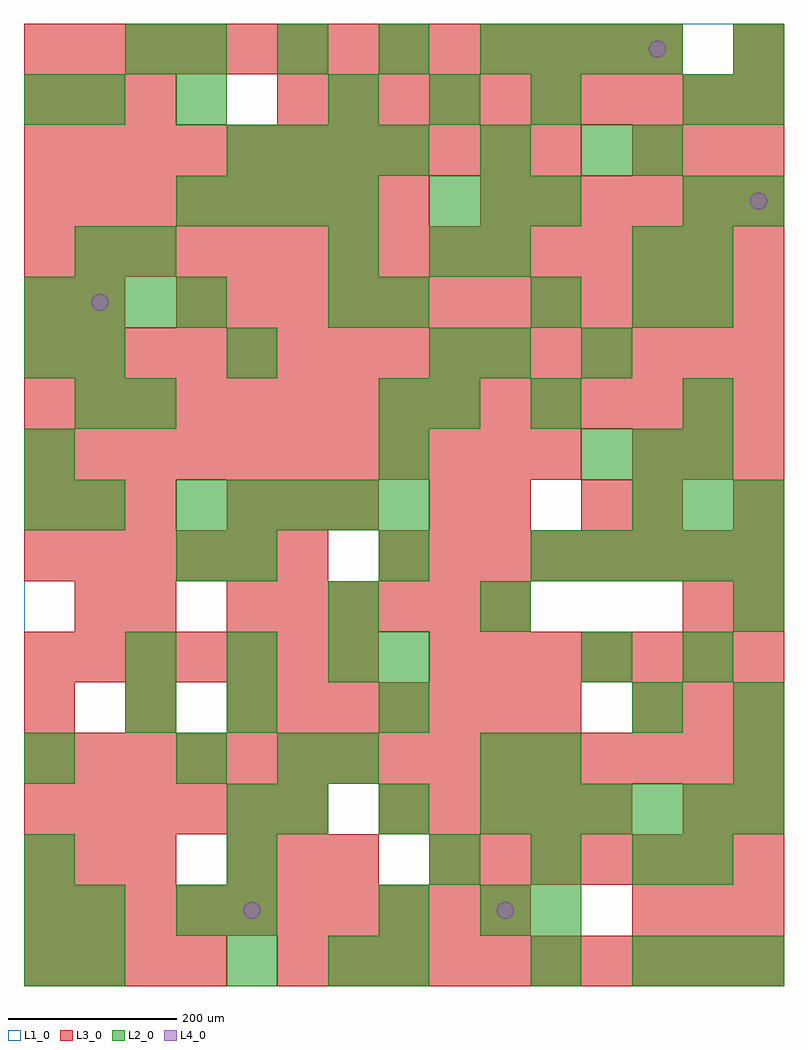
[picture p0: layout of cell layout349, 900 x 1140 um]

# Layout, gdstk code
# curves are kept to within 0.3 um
import gdstk
lib = gdstk.Library(unit=1e-6, precision=1e-09)
def R(c, l, rs):  # rectangles x0, y0, x1, y1
    for r in rs: c.add(gdstk.rectangle(r[:2], r[2:], *l))
def A(c, l, x, y, w, h, nx, ny, dx, dy):  # array of equal rectangles
    R(c, l, [(x+i*dx, y+j*dy, x+i*dx+w, y+j*dy+h) for i in range(nx) for j in range(ny)])
def P(c, l, *ps):  # polygons
    for p in ps: c.add(gdstk.Polygon(p, *l))
L1_0 = (1, 0)
L2_0 = (2, 0)
L3_0 = (3, 0)
L4_0 = (4, 0)

layout349 = lib.new_cell('layout349')
R(layout349, L1_0, [(0,0,900,1140)])
A(layout349, L2_0, 600, 0, 60, 60, 1, 3, 0, 60)
A(layout349, L2_0, 720, 0, 60, 60, 3, 2, 60, 540)
A(layout349, L2_0, 240, 60, 60, 60, 1, 3, 0, 120)
A(layout349, L2_0, 540, 60, 60, 60, 1, 3, 0, 180)
A(layout349, L2_0, 0, 120, 60, 60, 3, 1, 240, 0)
A(layout349, L2_0, 300, 180, 60, 60, 3, 1, 120, 0)
A(layout349, L2_0, 600, 180, 60, 60, 5, 1, 60, 0)
A(layout349, L2_0, 120, 360, 60, 60, 3, 1, 120, 0)
A(layout349, L2_0, 240, 480, 60, 60, 3, 1, 180, 0)
A(layout349, L2_0, 660, 480, 60, 60, 4, 1, 60, 0)
A(layout349, L2_0, 180, 540, 60, 60, 5, 1, 60, 0)
A(layout349, L2_0, 660, 600, 60, 60, 3, 1, 60, 0)
A(layout349, L2_0, 540, 720, 60, 60, 1, 3, 0, 120)
A(layout349, L2_0, 0, 780, 60, 60, 4, 1, 60, 0)
A(layout349, L2_0, 780, 780, 60, 60, 1, 3, 0, 60)
A(layout349, L2_0, 180, 900, 60, 60, 4, 1, 60, 0)
A(layout349, L2_0, 480, 900, 60, 60, 3, 1, 60, 0)
A(layout349, L2_0, 240, 960, 60, 60, 4, 1, 60, 0)
A(layout349, L2_0, 360, 1020, 60, 60, 3, 1, 120, 0)
A(layout349, L2_0, 180, 1080, 60, 60, 4, 1, 120, 0)
A(layout349, L2_0, 600, 1080, 60, 60, 3, 1, 60, 0)
R(layout349, L2_0, [(0,0,60,60), (60,0,120,60), (240,0,300,60), (360,0,420,60), (420,0,480,60), (0,60,60,120), (60,60,120,120), (180,60,240,120), (420,60,480,120), (720,120,780,180), (780,120,840,180), (0,240,60,300), (180,240,240,300), (300,240,360,300), (360,240,420,300), (600,240,660,300), (840,240,900,300), (120,300,180,360), (420,300,480,360), (720,300,780,360), (840,300,900,360), (420,360,480,420), (660,360,720,420), (780,360,840,420), (360,420,420,480), (840,420,900,480), (180,480,240,540), (0,540,60,600), (60,540,120,600), (0,600,60,660), (420,600,480,660), (60,660,120,720), (120,660,180,720), (420,660,480,720), (480,660,540,720), (600,660,660,720), (780,660,840,720), (0,720,60,780), (60,720,120,780), (240,720,300,780), (480,720,540,780), (660,720,720,780), (360,780,420,840), (420,780,480,840), (600,780,660,840), (720,780,780,840), (60,840,120,900), (120,840,180,900), (360,840,420,900), (480,840,540,900), (720,840,780,900), (840,900,900,960), (660,960,720,1020), (720,960,780,1020), (0,1020,60,1080), (60,1020,120,1080), (180,1020,240,1080), (780,1020,840,1080), (840,1020,900,1080), (120,1080,180,1140), (840,1080,900,1140)])
A(layout349, L3_0, 0, 0, 60, 60, 4, 1, 60, 0)
A(layout349, L3_0, 300, 0, 60, 60, 10, 2, 60, 1020)
A(layout349, L3_0, 0, 60, 60, 60, 10, 1, 60, 0)
A(layout349, L3_0, 720, 60, 60, 60, 3, 2, 60, 240)
A(layout349, L3_0, 0, 120, 60, 60, 3, 2, 60, 420)
A(layout349, L3_0, 240, 120, 60, 60, 3, 2, 60, 420)
A(layout349, L3_0, 480, 120, 60, 60, 7, 2, 60, 240)
A(layout349, L3_0, 0, 180, 60, 60, 6, 2, 60, 300)
A(layout349, L3_0, 420, 180, 60, 60, 5, 1, 60, 0)
A(layout349, L3_0, 0, 240, 60, 60, 15, 2, 60, 420)
A(layout349, L3_0, 0, 300, 60, 60, 3, 1, 120, 0)
A(layout349, L3_0, 300, 300, 60, 60, 6, 1, 60, 0)
A(layout349, L3_0, 0, 360, 60, 60, 7, 1, 60, 0)
A(layout349, L3_0, 240, 420, 60, 60, 6, 1, 60, 0)
A(layout349, L3_0, 420, 480, 60, 60, 8, 1, 60, 0)
A(layout349, L3_0, 0, 600, 60, 60, 11, 2, 60, 360)
A(layout349, L3_0, 720, 600, 60, 60, 3, 2, 60, 360)
A(layout349, L3_0, 0, 720, 60, 60, 15, 2, 60, 120)
A(layout349, L3_0, 180, 780, 60, 60, 12, 1, 60, 0)
A(layout349, L3_0, 0, 900, 60, 60, 8, 1, 60, 0)
A(layout349, L3_0, 540, 900, 60, 60, 6, 1, 60, 0)
A(layout349, L3_0, 0, 1020, 60, 60, 3, 1, 60, 0)
A(layout349, L3_0, 0, 1080, 60, 60, 13, 1, 60, 0)
R(layout349, L3_0, [(780,180,840,240), (840,180,900,240), (60,420,120,480), (120,420,180,480), (780,420,840,480), (840,420,900,480), (480,540,540,600), (540,540,600,600), (660,540,720,600), (720,540,780,600), (840,540,900,600), (0,780,60,840), (60,780,120,840), (840,1080,900,1140)])
P(layout349, L4_0, [(100,810),(99.239,813.827),(97.071,817.071),(93.827,819.239),(90,820),(86.173,819.239),(82.929,817.071),(80.761,813.827),(80,810),(80.761,806.173),(82.929,802.929),(86.173,800.761),(90,800),(93.827,800.761),(97.071,802.929),(99.239,806.173)],
  [(280,90),(279.239,93.827),(277.071,97.071),(273.827,99.239),(270,100),(266.173,99.239),(262.929,97.071),(260.761,93.827),(260,90),(260.761,86.173),(262.929,82.929),(266.173,80.761),(270,80),(273.827,80.761),(277.071,82.929),(279.239,86.173)],
  [(580,90),(579.239,93.827),(577.071,97.071),(573.827,99.239),(570,100),(566.173,99.239),(562.929,97.071),(560.761,93.827),(560,90),(560.761,86.173),(562.929,82.929),(566.173,80.761),(570,80),(573.827,80.761),(577.071,82.929),(579.239,86.173)],
  [(760,1110),(759.239,1113.827),(757.071,1117.071),(753.827,1119.239),(750,1120),(746.173,1119.239),(742.929,1117.071),(740.761,1113.827),(740,1110),(740.761,1106.173),(742.929,1102.929),(746.173,1100.761),(750,1100),(753.827,1100.761),(757.071,1102.929),(759.239,1106.173)],
  [(880,930),(879.239,933.827),(877.071,937.071),(873.827,939.239),(870,940),(866.173,939.239),(862.929,937.071),(860.761,933.827),(860,930),(860.761,926.173),(862.929,922.929),(866.173,920.761),(870,920),(873.827,920.761),(877.071,922.929),(879.239,926.173)])

lib.write_gds('layout349.gds')
